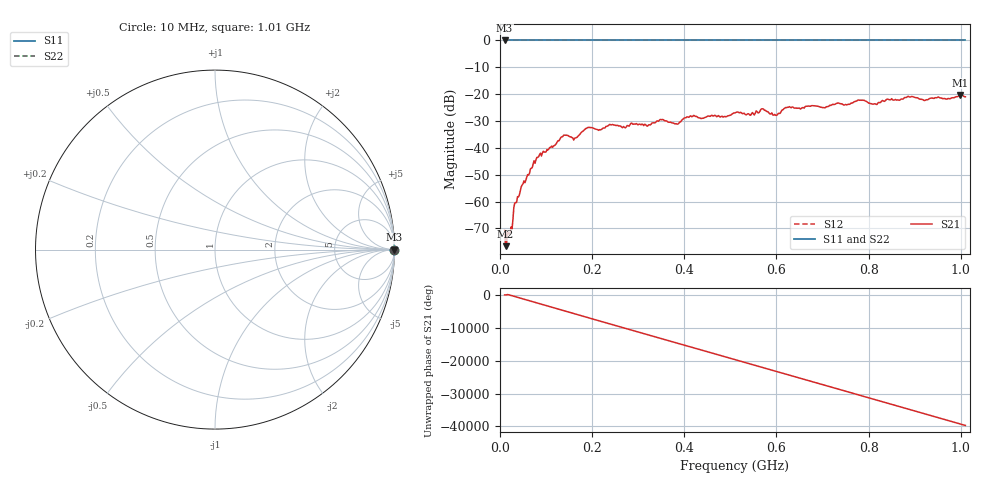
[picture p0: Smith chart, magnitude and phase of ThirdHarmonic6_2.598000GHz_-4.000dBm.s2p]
! 8/17/2025 5:36:21 AM
! C:\ANRITSUVNA\TEMP\TEMP.S2P
! CHANNEL.1
! TR.MEASUREMENT
! RAW.DATA
! RF.CORRECTION.OFF
! AVERAGING.OFF
! IF.BANDWIDTH: 5KHZ
! SWEEPTYPE:  FREQ.SWEEP(Linear)
! Reference Plane Port Info
! PORT:  PORT1  PORT2
! DISTANCE:  0  m  0  m
! TIME:  0  s  0  s
! PHASE.OFFSET:  0  deg.  0  deg.
! LOSS:  0  dB  0  dB
! REF.LOSS:  0  dB  0  dB
! REF.FREQ:  0  Hz  0  Hz
! Power Info
! POWER:  -20  dBm  -20  dBm
! EFF.POWER:  -20  dBm  -20  dBm
! SOURCE.ATTEN:  0  dB  0  dB
! TEST.ATTEN:  0  dB  0  dB
# GHZ S RI R 50.0
! FREQ.GHZ  S11RE  S11IM  S21RE  S21IM  S12RE  S12IM  S22RE  S22IM
!; PortSelection: Port_12
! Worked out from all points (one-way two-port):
!   501 points, 10 MHz to 1.01 GHz, reference 50 ohm
!   highest |S21| = -20.34 dB at 998 MHz (marker M1); lowest = -76.6 dB at 12 MHz (marker M2)
!   lowest |S11| = 0.0 dB at 10 MHz (marker M3)
!   |S11| at or under -10 dB: nowhere
!   |S22| runs from 0.0 to 0.0 dB; largest |S21 - S12| = 1.1
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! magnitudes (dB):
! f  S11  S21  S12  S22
! 10 MHz  0.0  -70.6  0.0  0.0
! 12 MHz  0.0  -76.6  0.0  0.0
! 16 MHz  0.0  -71.1  0.0  0.0
! 24 MHz  0.0  -69.4  0.0  0.0
! 34 MHz  0.0  -60.3  0.0  0.0
! 48 MHz  0.0  -53.8  0.0  0.0
! 84 MHz  0.0  -43.2  0.0  0.0
! 136 MHz  0.0  -35.8  0.0  0.0
! 162 MHz  0.0  -36.4  0.0  0.0
! 178 MHz  0.0  -34.0  0.0  0.0
! 344 MHz  0.0  -30.0  0.0  0.0
! 384 MHz  0.0  -31.1  0.0  0.0
! 410 MHz  0.0  -28.6  0.0  0.0
! 510 MHz  0.0  -27.0  0.0  0.0
! 548 MHz  0.0  -26.8  0.0  0.0
! 570 MHz  0.0  -25.4  0.0  0.0
! 598 MHz  0.0  -27.9  0.0  0.0
! 624 MHz  0.0  -24.9  0.0  0.0
! 678 MHz  0.0  -24.3  0.0  0.0
! 844 MHz  0.0  -22.0  0.0  0.0
! 998 MHz  0.0  -20.3  0.0  0.0
! 1.01 GHz  0.0  -21.0  0.0  0.0
